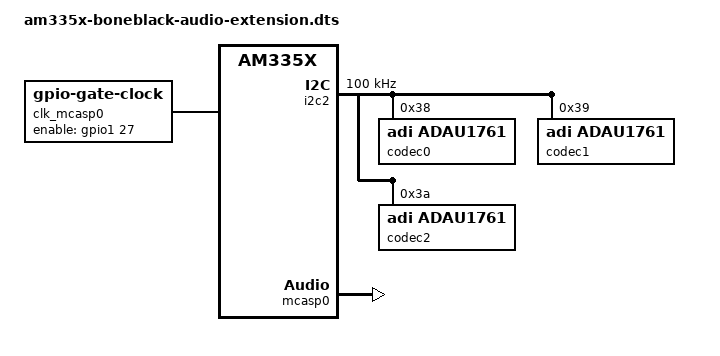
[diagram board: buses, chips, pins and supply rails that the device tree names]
// SPDX-License-Identifier: GPL-2.0
/*
 * DTS file for Boneblack Audio Extension
 *
 * Copyright (C) 2017 Chris Obbard <chris@64studio.com>
 */

/dts-v1/;

#include "am335x-boneblack.dts"

&am33xx_pinmux {
	/* disable onboard hdmi transceiver */
	nxp_hdmi_bonelt_pins: nxp_hdmi_bonelt_pins {
		pinctrl-single,pins = <>;
	};

	/* disable onboard hdmi transceiver */
	nxp_hdmi_bonelt_off_pins: nxp_hdmi_bonelt_off_pins {
		pinctrl-single,pins = <>;
	};

	/* define pins for the I2S module */
	mcasp0_pins: mcasp0_pins {
		pinctrl-single,pins = <
			/* P9_25 McASP0 Transmit Master Clock	(MCLK) */
			AM33XX_IOPAD(0x9ac, PIN_INPUT_PULLUP | MUX_MODE0)

			/* P9_28 McASP0 Serial Data 2 (OUT)	(DAC_SDATA) */
			AM33XX_IOPAD(0x99c, PIN_OUTPUT_PULLDOWN | MUX_MODE2)

			/* P9_29 McASP0 Transmit Frame Sync	(LRCLK) */
			AM33XX_IOPAD(0x994, PIN_OUTPUT_PULLUP | MUX_MODE0)

			/* P9_30 McASP0 Serial Data 0 (IN)	(ADC_SDATA) */
			AM33XX_IOPAD(0x998, PIN_INPUT_PULLUP | MUX_MODE0)

			/* P9_31 McASP0 Transmit Bit Clock	(BCLK) */
			AM33XX_IOPAD(0x990, PIN_OUTPUT_PULLDOWN | MUX_MODE0)

			/* Y4 MCLK oscillator disable (active-low) */
			AM33XX_IOPAD(0x86c, PIN_OUTPUT_PULLDOWN | MUX_MODE7)
		>;
	};
};

&i2c0 {
	/* disable onboard hdmi transceiver */
	tda19988: tda19988 {

	};
};

&i2c2 {
	pinctrl-names = "default";
	pinctrl-0 = <&i2c2_pins>;

	status = "okay";
	clock-frequency = <100000>;

	codec0: adau1761@38 {
		#sound-dai-cells = <0>;
		compatible = "adi,adau1761";
		reg = <0x38>;
		status = "okay";
	};

	codec1: adau1761@39 {
		#sound-dai-cells = <0>;
		compatible = "adi,adau1761";
		reg = <0x39>;
		status = "okay";
	};

	codec2: adau1761@3a {
		#sound-dai-cells = <0>;
		compatible = "adi,adau1761";
		reg = <0x3a>;
		status = "okay";
	};
};

&lcdc {
	status = "disabled";
};

&mcasp0	{
	#sound-dai-cells = <0>;
	status = "okay";
	pinctrl-names = "default";
	pinctrl-0 = <&mcasp0_pins>;

	op-mode = <0>;
	tdm-slots = <8>;
	serial-dir = <
		2 0 1 0
		0 0 0 0
		0 0 0 0
		0 0 0 0
	>;
	tx-num-evt = <1>;
	rx-num-evt = <1>;
};

/ {
	clk_mcasp0_fixed: clk_mcasp0_fixed {
		#clock-cells = <0>;
		compatible = "fixed-clock";
		clock-frequency = <24576000>;
	};

	clk_mcasp0: clk_mcasp0 {
		#clock-cells = <0>;
		compatible = "gpio-gate-clock";
		clocks = <&clk_mcasp0_fixed>;
		enable-gpios = <&gpio1 27 0>;
	};

	sound {
		compatible = "64studio,boneblack-audio-extension";
		status = "okay";
		clocks = <&clk_mcasp0>;

		boneblack-audio-extension,mcasp = <&mcasp0>;

		/* these are not yet used */
		boneblack-audio-extension,codec0 = <&codec0>;
		boneblack-audio-extension,codec1 = <&codec1>;
		boneblack-audio-extension,codec2 = <&codec2>;
	};
};
